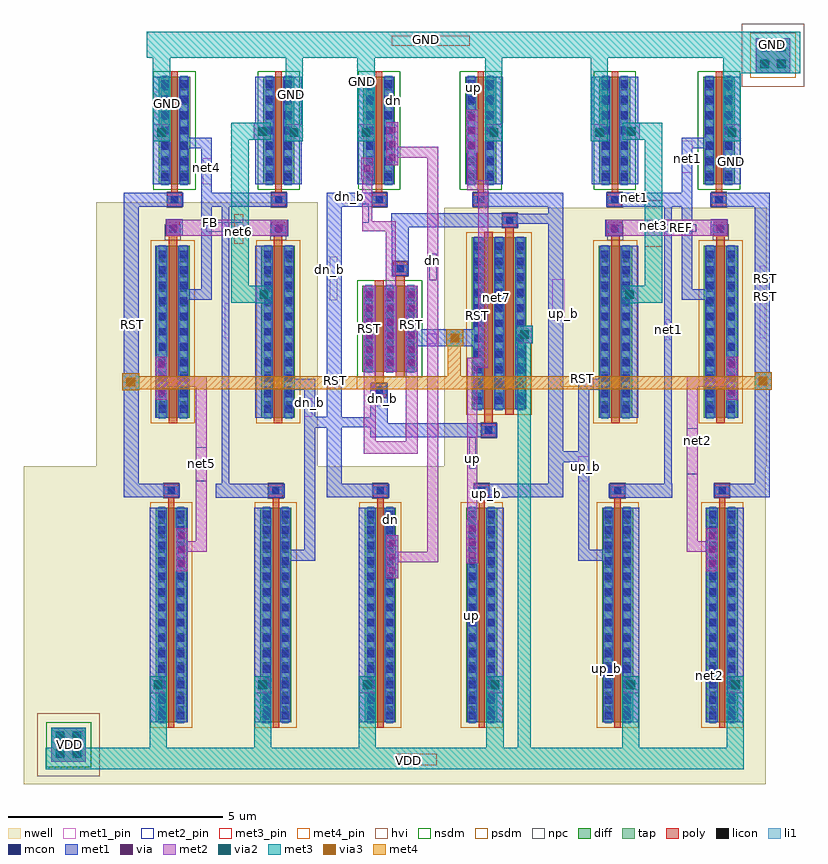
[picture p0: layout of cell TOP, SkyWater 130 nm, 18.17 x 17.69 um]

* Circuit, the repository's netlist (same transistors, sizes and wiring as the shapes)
** sch_path: /home/ahmedelbadry/D_FF/conventional_pfd.sch
*.subckt TOP VDD net5 dn_b up up_b net2 RST net4 net6 net7 net3 net1 GND REF FB
.subckt pfd VDD GND up dn REF FB
M1 net1 RST GND GND sky130_fd_pr__nfet_01v8 L=0.15U W=2.5U nf=1 
M2 net1 REF net2 VDD sky130_fd_pr__pfet_01v8 L=0.2U W=4U nf=1 
M3 net2 RST VDD VDD sky130_fd_pr__pfet_01v8 L=0.15U W=5U nf=1
M4 net3 net1 GND GND sky130_fd_pr__nfet_01v8 L=0.15U W=2.5U nf=1 
M5 up_b net1 VDD VDD sky130_fd_pr__pfet_01v8 L=0.15U W=5U nf=1
M6 up_b REF net3 VDD sky130_fd_pr__pfet_01v8 L=0.2U W=4U nf=1  
M7 up up_b GND GND sky130_fd_pr__nfet_01v8 L=0.15U W=2.5U nf=1 
M8 up up_b VDD VDD sky130_fd_pr__pfet_01v8 L=0.15U W=5U nf=1 
M9 net7 up_b VDD VDD sky130_fd_pr__pfet_01v8 L=0.2U W=4U nf=1 
M10 RST dn_b net7 VDD sky130_fd_pr__pfet_01v8 L=0.2U W=4U nf=1
M11 dn dn_b GND GND sky130_fd_pr__nfet_01v8 L=0.15U W=2.5U nf=1
M12 dn dn_b VDD VDD sky130_fd_pr__pfet_01v8 L=0.15U W=5U nf=1 
M13 RST up_b GND GND sky130_fd_pr__nfet_01v8 L=0.2U W=2U nf=1
M14 RST dn_b GND GND sky130_fd_pr__nfet_01v8 L=0.2U W=2U nf=1  
M15 net6 net4 GND GND sky130_fd_pr__nfet_01v8 L=0.15U W=2.5U nf=1
M16 dn_b net4 VDD VDD sky130_fd_pr__pfet_01v8 L=0.15U W=5U nf=1 
M17 net4 FB net5 VDD sky130_fd_pr__pfet_01v8 L=0.2U W=4U nf=1 
M18 dn_b FB net6 VDD sky130_fd_pr__pfet_01v8 L=0.2U W=4U nf=1  
M19 net5 RST VDD VDD sky130_fd_pr__pfet_01v8 L=0.15U W=5U nf=1
M20 net4 RST GND GND sky130_fd_pr__nfet_01v8 L=0.15U W=2.5U nf=1 
.ends

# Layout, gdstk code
from math import pi, radians
import gdstk
lib = gdstk.Library(unit=1e-6, precision=1e-09)
def R(c, l, rs):  # rectangles x0, y0, x1, y1
    for r in rs: c.add(gdstk.rectangle(r[:2], r[2:], *l))
def A(c, l, x, y, w, h, nx, ny, dx, dy):  # array of equal rectangles
    R(c, l, [(x+i*dx, y+j*dy, x+i*dx+w, y+j*dy+h) for i in range(nx) for j in range(ny)])
nwell = (64, 20)
diff = (65, 20)
tap = (65, 44)
poly = (66, 20)
licon = (66, 44)
li1 = (67, 20)
mcon = (67, 44)
met1_pin = (68, 16)
met1 = (68, 20)
via = (68, 44)
met2_pin = (69, 16)
met2 = (69, 20)
via2 = (69, 44)
met3_pin = (70, 16)
met3 = (70, 20)
via3 = (70, 44)
met4_pin = (71, 16)
met4 = (71, 20)
hvi = (75, 20)
nsdm = (93, 44)
psdm = (94, 20)
npc = (95, 20)

via_new_2 = lib.new_cell('via_new$2')
R(via_new_2, via, [(0.125,-0.075,0.275,0.075)])
R(via_new_2, via2, [(0.1,-0.1,0.3,0.1)])
via_new_2.add(gdstk.FlexPath([(0,0),(0.4,0)], 0.4, ends="flush", simple_path=True, layer=68, datatype=20))  # met1
via_new_2.add(gdstk.FlexPath([(0,0),(0.4,0)], 0.4, ends="flush", simple_path=True, layer=69, datatype=20))  # met2
via_new_2.add(gdstk.FlexPath([(0,0),(0.4,0)], 0.4, ends="flush", simple_path=True, layer=70, datatype=20))  # met3

via_new = lib.new_cell('via_new')
A(via_new, via, 0.105, -0.075, 0.15, 0.15, 3, 1, 0.32, 0)
via_new.add(gdstk.FlexPath([(0,0),(1,0)], 0.28, ends="flush", simple_path=True, layer=68, datatype=20))  # met1
via_new.add(gdstk.FlexPath([(0,0),(1,0)], 0.28, ends="flush", simple_path=True, layer=69, datatype=20))  # met2

via_new_3 = lib.new_cell('via_new$3')
R(via_new_3, via, [(0.115,-0.075,0.265,0.075)])
via_new_3.add(gdstk.FlexPath([(0,0),(0.38,0)], 0.38, ends="flush", simple_path=True, layer=68, datatype=20))  # met1
via_new_3.add(gdstk.FlexPath([(0,0),(0.38,0)], 0.38, ends="flush", simple_path=True, layer=69, datatype=20))  # met2

via_new_4 = lib.new_cell('via_new$4')
A(via_new_4, via, 0.125, -0.075, 0.15, 0.15, 6, 1, 0.32, 0)
via_new_4.add(gdstk.FlexPath([(0,0),(2,0)], 0.28, ends="flush", simple_path=True, layer=68, datatype=20))  # met1
via_new_4.add(gdstk.FlexPath([(0,0),(2,0)], 0.28, ends="flush", simple_path=True, layer=69, datatype=20))  # met2

via_new_5 = lib.new_cell('via_new$5')
R(via_new_5, via, [(0.125,-0.075,0.275,0.075)])
R(via_new_5, via2, [(0.1,-0.1,0.3,0.1)])
R(via_new_5, via3, [(0.1,-0.1,0.3,0.1)])
via_new_5.add(gdstk.FlexPath([(0,0),(0.4,0)], 0.4, ends="flush", simple_path=True, layer=68, datatype=20))  # met1
via_new_5.add(gdstk.FlexPath([(0,0),(0.4,0)], 0.4, ends="flush", simple_path=True, layer=69, datatype=20))  # met2
via_new_5.add(gdstk.FlexPath([(0,0),(0.4,0)], 0.4, ends="flush", simple_path=True, layer=70, datatype=20))  # met3
via_new_5.add(gdstk.FlexPath([(0,0),(0.4,0)], 0.4, ends="flush", simple_path=True, layer=71, datatype=20))  # met4

via_new_6 = lib.new_cell('via_new$6')
R(via_new_6, via, [(0.175,-0.075,0.325,0.075)])
via_new_6.add(gdstk.FlexPath([(0,0),(0.5,0)], 0.28, ends="flush", simple_path=True, layer=68, datatype=20))  # met1
via_new_6.add(gdstk.FlexPath([(0,0),(0.5,0)], 0.28, ends="flush", simple_path=True, layer=69, datatype=20))  # met2

via_new_9 = lib.new_cell('via_new$9')
R(via_new_9, licon, [(0.145,-0.255,0.315,-0.085), (0.485,-0.255,0.655,-0.085), (0.145,0.085,0.315,0.255), (0.485,0.085,0.655,0.255)])
R(via_new_9, mcon, [(0.135,-0.265,0.305,-0.095), (0.495,-0.265,0.665,-0.095), (0.135,0.095,0.305,0.265), (0.495,0.095,0.665,0.265)])
R(via_new_9, via, [(0.165,-0.235,0.315,-0.085), (0.485,-0.235,0.635,-0.085), (0.165,0.085,0.315,0.235), (0.485,0.085,0.635,0.235)])
R(via_new_9, via2, [(0.1,-0.3,0.3,-0.1), (0.5,-0.3,0.7,-0.1), (0.1,0.1,0.3,0.3), (0.5,0.1,0.7,0.3)])
via_new_9.add(gdstk.FlexPath([(0,0),(0.8,0)], 0.8, ends="flush", simple_path=True, layer=65, datatype=44))  # tap
via_new_9.add(gdstk.FlexPath([(0,0),(0.8,0)], 0.8, ends="flush", simple_path=True, layer=67, datatype=20))  # li1
via_new_9.add(gdstk.FlexPath([(0,0),(0.8,0)], 0.8, ends="flush", simple_path=True, layer=68, datatype=20))  # met1
via_new_9.add(gdstk.FlexPath([(0,0),(0.8,0)], 0.8, ends="flush", simple_path=True, layer=69, datatype=20))  # met2
via_new_9.add(gdstk.FlexPath([(0,0),(0.8,0)], 0.8, ends="flush", simple_path=True, layer=70, datatype=20))  # met3
via_new_9.add(gdstk.FlexPath([(-0.33,0),(1.13,0)], 1.46, ends="flush", simple_path=True, layer=75, datatype=20))  # hvi
via_new_9.add(gdstk.FlexPath([(-0.125,0),(0.925,0)], 1.05, ends="flush", simple_path=True, layer=94, datatype=20))  # psdm

via_new_8 = lib.new_cell('via_new$8')
R(via_new_8, licon, [(0.145,-0.255,0.315,-0.085), (0.485,-0.255,0.655,-0.085), (0.145,0.085,0.315,0.255), (0.485,0.085,0.655,0.255)])
R(via_new_8, mcon, [(0.135,-0.265,0.305,-0.095), (0.495,-0.265,0.665,-0.095), (0.135,0.095,0.305,0.265), (0.495,0.095,0.665,0.265)])
R(via_new_8, via, [(0.165,-0.235,0.315,-0.085), (0.485,-0.235,0.635,-0.085), (0.165,0.085,0.315,0.235), (0.485,0.085,0.635,0.235)])
R(via_new_8, via2, [(0.1,-0.3,0.3,-0.1), (0.5,-0.3,0.7,-0.1), (0.1,0.1,0.3,0.3), (0.5,0.1,0.7,0.3)])
via_new_8.add(gdstk.FlexPath([(-0.125,0),(0.925,0)], 1.05, ends="flush", simple_path=True, layer=93, datatype=44))  # nsdm
via_new_8.add(gdstk.FlexPath([(-0.125,0),(0.925,0)], 1.05, ends="flush", simple_path=True, layer=64, datatype=20))  # nwell
via_new_8.add(gdstk.FlexPath([(-0.33,0),(1.13,0)], 1.46, ends="flush", simple_path=True, layer=64, datatype=20))  # nwell
via_new_8.add(gdstk.FlexPath([(0,0),(0.8,0)], 0.8, ends="flush", simple_path=True, layer=65, datatype=44))  # tap
via_new_8.add(gdstk.FlexPath([(0,0),(0.8,0)], 0.8, ends="flush", simple_path=True, layer=67, datatype=20))  # li1
via_new_8.add(gdstk.FlexPath([(0,0),(0.8,0)], 0.8, ends="flush", simple_path=True, layer=68, datatype=20))  # met1
via_new_8.add(gdstk.FlexPath([(0,0),(0.8,0)], 0.8, ends="flush", simple_path=True, layer=69, datatype=20))  # met2
via_new_8.add(gdstk.FlexPath([(0,0),(0.8,0)], 0.8, ends="flush", simple_path=True, layer=70, datatype=20))  # met3
via_new_8.add(gdstk.FlexPath([(-0.33,0),(1.13,0)], 1.46, ends="flush", simple_path=True, layer=75, datatype=20))  # hvi

top = lib.new_cell('TOP')
R(top, nwell, [(-3.147,-13.418,14.127,-6.015), (-0.256,-12.293,0.834,-6.483), (2.178,-12.293,3.268,-6.483), (4.61,-12.293,5.7,-6.483), (6.972,-12.293,8.062,-6.483), (10.137,-12.293,11.227,-6.483), (12.571,-12.293,13.661,-6.483), (6.641,-6.726,9.445,0), (-1.461,-6.015,3.701,0.122), (9.417,-6.015,14.152,0), (-0.244,-5.2,0.896,-0.39), (2.208,-5.2,3.348,-0.39), (10.057,-5.2,11.197,-0.39), (12.509,-5.2,13.649,-0.39), (7.107,-5.193,8.247,-5.003), (7.107,-5.003,8.737,-0.383), (7.597,-0.383,8.737,-0.193)])
R(top, diff, [(-0.076,-11.983,0.654,-6.983), (2.358,-11.983,3.088,-6.983), (4.79,-11.983,5.52,-6.983), (7.152,-11.983,7.882,-6.983), (10.317,-11.983,11.047,-6.983), (12.751,-11.983,13.481,-6.983), (-0.064,-4.89,0.716,-0.89), (2.388,-4.89,3.168,-0.89), (10.237,-4.89,11.017,-0.89), (12.689,-4.89,13.469,-0.89), (7.287,-4.693,8.557,-0.693), (4.74,-3.819,6.01,-1.819), (0,0.545,0.73,3.045), (2.425,0.545,3.155,3.045), (4.764,0.545,5.494,3.045), (7.129,0.545,7.859,3.045), (10.25,0.545,10.98,3.045), (12.675,0.545,13.405,3.045)])
R(top, poly, [(0.214,-12.113,0.364,-6.751), (2.648,-12.113,2.798,-6.752), (5.08,-12.113,5.23,-6.752), (7.442,-12.113,7.592,-6.752), (10.607,-12.113,10.757,-6.752), (13.041,-12.113,13.191,-6.751), (2.558,-6.753,2.888,-6.423), (4.99,-6.753,5.32,-6.423), (7.352,-6.753,7.682,-6.423), (10.517,-6.753,10.847,-6.423), (0.124,-6.751,0.454,-6.421), (12.951,-6.751,13.281,-6.421), (7.512,-5.344,7.842,-5.014), (0.226,-5.02,0.426,-0.659), (2.678,-5.02,2.878,-0.659), (10.527,-5.02,10.727,-0.659), (12.979,-5.02,13.179,-0.659), (7.577,-5.015,7.777,-0.563), (8.067,-4.823,8.267,-0.457), (4.965,-4.414,5.295,-4.084), (5.03,-4.092,5.23,-1.689), (5.52,-3.949,5.72,-1.587), (5.455,-1.59,5.785,-1.26), (0.161,-0.661,0.491,-0.331), (2.613,-0.661,2.943,-0.331), (10.462,-0.661,10.792,-0.331), (12.914,-0.661,13.244,-0.331), (8.002,-0.457,8.332,-0.127), (0.2,0.02,0.53,0.35), (2.625,0.02,2.955,0.35), (4.964,0.02,5.294,0.35), (7.329,0.02,7.659,0.35), (10.45,0.02,10.78,0.35), (12.875,0.02,13.205,0.35), (0.29,0.35,0.44,3.175), (2.715,0.35,2.865,3.175), (5.054,0.35,5.204,3.175), (7.419,0.35,7.569,3.175), (10.54,0.35,10.69,3.175), (12.965,0.35,13.115,3.175)])
A(top, licon, -0.016, -11.778, 0.17, 0.17, 1, 14, 0, 0.34)
A(top, licon, 0.424, -11.778, 0.17, 0.17, 1, 14, 0, 0.34)
A(top, licon, 2.418, -11.778, 0.17, 0.17, 1, 14, 0, 0.34)
A(top, licon, 2.858, -11.778, 0.17, 0.17, 1, 14, 0, 0.34)
A(top, licon, 4.85, -11.778, 0.17, 0.17, 1, 14, 0, 0.34)
A(top, licon, 5.29, -11.778, 0.17, 0.17, 1, 14, 0, 0.34)
A(top, licon, 7.212, -11.778, 0.17, 0.17, 1, 14, 0, 0.34)
A(top, licon, 7.652, -11.778, 0.17, 0.17, 1, 14, 0, 0.34)
A(top, licon, 10.377, -11.778, 0.17, 0.17, 1, 14, 0, 0.34)
A(top, licon, 10.817, -11.778, 0.17, 0.17, 1, 14, 0, 0.34)
A(top, licon, 12.811, -11.778, 0.17, 0.17, 1, 14, 0, 0.34)
A(top, licon, 13.251, -11.778, 0.17, 0.17, 1, 14, 0, 0.34)
A(top, licon, -0.004, -4.675, 0.17, 0.17, 1, 11, 0, 0.34)
A(top, licon, 0.486, -4.675, 0.17, 0.17, 1, 11, 0, 0.34)
A(top, licon, 2.448, -4.675, 0.17, 0.17, 1, 11, 0, 0.34)
A(top, licon, 2.938, -4.675, 0.17, 0.17, 1, 11, 0, 0.34)
A(top, licon, 10.297, -4.675, 0.17, 0.17, 1, 11, 0, 0.34)
A(top, licon, 10.787, -4.675, 0.17, 0.17, 1, 11, 0, 0.34)
A(top, licon, 12.749, -4.675, 0.17, 0.17, 1, 11, 0, 0.34)
A(top, licon, 13.239, -4.675, 0.17, 0.17, 1, 11, 0, 0.34)
A(top, licon, 7.347, -4.478, 0.17, 0.17, 3, 11, 0.49, 0.34)
A(top, licon, 4.8, -3.754, 0.17, 0.17, 1, 6, 0, 0.34)
A(top, licon, 4.8, -3.754, 0.17, 0.17, 3, 6, 0.49, 0.34)
A(top, licon, 0.06, 0.69, 0.17, 0.17, 1, 7, 0, 0.34)
A(top, licon, 0.5, 0.69, 0.17, 0.17, 1, 7, 0, 0.34)
A(top, licon, 2.485, 0.69, 0.17, 0.17, 1, 7, 0, 0.34)
A(top, licon, 2.925, 0.69, 0.17, 0.17, 1, 7, 0, 0.34)
A(top, licon, 4.824, 0.69, 0.17, 0.17, 1, 7, 0, 0.34)
A(top, licon, 5.264, 0.69, 0.17, 0.17, 1, 7, 0, 0.34)
A(top, licon, 7.189, 0.69, 0.17, 0.17, 1, 7, 0, 0.34)
A(top, licon, 7.629, 0.69, 0.17, 0.17, 1, 7, 0, 0.34)
A(top, licon, 10.31, 0.69, 0.17, 0.17, 1, 7, 0, 0.34)
A(top, licon, 10.75, 0.69, 0.17, 0.17, 1, 7, 0, 0.34)
A(top, licon, 12.735, 0.69, 0.17, 0.17, 1, 7, 0, 0.34)
A(top, licon, 13.175, 0.69, 0.17, 0.17, 1, 7, 0, 0.34)
R(top, licon, [(2.638,-6.673,2.808,-6.503), (5.07,-6.673,5.24,-6.503), (7.432,-6.673,7.602,-6.503), (10.597,-6.673,10.767,-6.503), (0.204,-6.671,0.374,-6.501), (13.031,-6.671,13.201,-6.501), (7.592,-5.264,7.762,-5.094), (5.045,-4.334,5.215,-4.164), (5.535,-1.51,5.705,-1.34), (0.241,-0.581,0.411,-0.411), (2.693,-0.581,2.863,-0.411), (10.542,-0.581,10.712,-0.411), (12.994,-0.581,13.164,-0.411), (8.082,-0.377,8.252,-0.207), (0.28,0.1,0.45,0.27), (2.705,0.1,2.875,0.27), (5.044,0.1,5.214,0.27), (7.409,0.1,7.579,0.27), (10.53,0.1,10.7,0.27), (12.955,0.1,13.125,0.27)])
A(top, li1, 7.347, -4.713, 0.17, 4.04, 3, 1, 0.49, 0)
A(top, li1, 4.8, -3.839, 0.17, 2.04, 3, 1, 0.49, 0)
R(top, li1, [(-0.016,-12.003,0.154,-6.963), (0.424,-12.003,0.594,-6.963), (2.418,-12.003,2.588,-6.963), (2.858,-12.003,3.028,-6.963), (4.85,-12.003,5.02,-6.963), (5.29,-12.003,5.46,-6.963), (7.212,-12.003,7.382,-6.963), (7.652,-12.003,7.822,-6.963), (10.377,-12.003,10.547,-6.963), (10.817,-12.003,10.987,-6.963), (12.811,-12.003,12.981,-6.963), (13.251,-12.003,13.421,-6.963), (2.558,-6.673,2.888,-6.503), (4.99,-6.673,5.32,-6.503), (7.352,-6.673,7.682,-6.503), (10.517,-6.673,10.847,-6.503), (0.124,-6.671,0.454,-6.501), (12.951,-6.671,13.281,-6.501), (7.512,-5.264,7.842,-5.094), (-0.004,-4.91,0.166,-0.87), (0.486,-4.91,0.656,-0.87), (2.448,-4.91,2.618,-0.87), (2.938,-4.91,3.108,-0.87), (10.297,-4.91,10.467,-0.87), (10.787,-4.91,10.957,-0.87), (12.749,-4.91,12.919,-0.87), (13.239,-4.91,13.409,-0.87), (4.965,-4.334,5.295,-4.164), (4.8,-3.839,4.97,-1.799), (5.455,-1.51,5.785,-1.34), (0.161,-0.581,0.491,-0.411), (2.613,-0.581,2.943,-0.411), (10.462,-0.581,10.792,-0.411), (12.914,-0.581,13.244,-0.411), (8.002,-0.377,8.332,-0.207), (0.2,0.1,0.53,0.27), (2.625,0.1,2.955,0.27), (4.964,0.1,5.294,0.27), (7.329,0.1,7.659,0.27), (10.45,0.1,10.78,0.27), (12.875,0.1,13.205,0.27), (0.06,0.525,0.23,3.065), (0.5,0.525,0.67,3.065), (2.485,0.525,2.655,3.065), (2.925,0.525,3.095,3.065), (4.824,0.525,4.994,3.065), (5.264,0.525,5.434,3.065), (7.189,0.525,7.359,3.065), (7.629,0.525,7.799,3.065), (10.31,0.525,10.48,3.065), (10.75,0.525,10.92,3.065), (12.735,0.525,12.905,3.065), (13.175,0.525,13.345,3.065)])
A(top, mcon, -0.016, -11.908, 0.17, 0.17, 1, 14, 0, 0.36)
A(top, mcon, 0.424, -11.908, 0.17, 0.17, 1, 14, 0, 0.36)
A(top, mcon, 2.418, -11.908, 0.17, 0.17, 1, 14, 0, 0.36)
A(top, mcon, 2.858, -11.908, 0.17, 0.17, 1, 14, 0, 0.36)
A(top, mcon, 4.85, -11.908, 0.17, 0.17, 1, 14, 0, 0.36)
A(top, mcon, 5.29, -11.908, 0.17, 0.17, 1, 14, 0, 0.36)
A(top, mcon, 7.212, -11.908, 0.17, 0.17, 1, 14, 0, 0.36)
A(top, mcon, 7.652, -11.908, 0.17, 0.17, 1, 14, 0, 0.36)
A(top, mcon, 10.377, -11.908, 0.17, 0.17, 1, 14, 0, 0.36)
A(top, mcon, 10.817, -11.908, 0.17, 0.17, 1, 14, 0, 0.36)
A(top, mcon, 12.811, -11.908, 0.17, 0.17, 1, 14, 0, 0.36)
A(top, mcon, 13.251, -11.908, 0.17, 0.17, 1, 14, 0, 0.36)
A(top, mcon, -0.004, -4.775, 0.17, 0.17, 1, 11, 0, 0.36)
A(top, mcon, 0.486, -4.775, 0.17, 0.17, 1, 11, 0, 0.36)
A(top, mcon, 2.448, -4.775, 0.17, 0.17, 1, 11, 0, 0.36)
A(top, mcon, 2.938, -4.775, 0.17, 0.17, 1, 11, 0, 0.36)
A(top, mcon, 10.297, -4.775, 0.17, 0.17, 1, 11, 0, 0.36)
A(top, mcon, 10.787, -4.775, 0.17, 0.17, 1, 11, 0, 0.36)
A(top, mcon, 12.749, -4.775, 0.17, 0.17, 1, 11, 0, 0.36)
A(top, mcon, 13.239, -4.775, 0.17, 0.17, 1, 11, 0, 0.36)
A(top, mcon, 7.347, -4.578, 0.17, 0.17, 3, 11, 0.49, 0.36)
A(top, mcon, 4.8, -3.624, 0.17, 0.17, 1, 5, 0, 0.36)
A(top, mcon, 4.8, -3.624, 0.17, 0.17, 3, 5, 0.49, 0.36)
A(top, mcon, 0.06, 0.63, 0.17, 0.17, 1, 7, 0, 0.36)
A(top, mcon, 0.5, 0.63, 0.17, 0.17, 1, 7, 0, 0.36)
A(top, mcon, 2.485, 0.63, 0.17, 0.17, 1, 7, 0, 0.36)
A(top, mcon, 2.925, 0.63, 0.17, 0.17, 1, 7, 0, 0.36)
A(top, mcon, 4.824, 0.63, 0.17, 0.17, 1, 7, 0, 0.36)
A(top, mcon, 5.264, 0.63, 0.17, 0.17, 1, 7, 0, 0.36)
A(top, mcon, 7.189, 0.63, 0.17, 0.17, 1, 7, 0, 0.36)
A(top, mcon, 7.629, 0.63, 0.17, 0.17, 1, 7, 0, 0.36)
A(top, mcon, 10.31, 0.63, 0.17, 0.17, 1, 7, 0, 0.36)
A(top, mcon, 10.75, 0.63, 0.17, 0.17, 1, 7, 0, 0.36)
A(top, mcon, 12.735, 0.63, 0.17, 0.17, 1, 7, 0, 0.36)
A(top, mcon, 13.175, 0.63, 0.17, 0.17, 1, 7, 0, 0.36)
R(top, mcon, [(2.638,-6.673,2.808,-6.503), (5.07,-6.673,5.24,-6.503), (7.432,-6.673,7.602,-6.503), (10.597,-6.673,10.767,-6.503), (0.204,-6.671,0.374,-6.501), (13.031,-6.671,13.201,-6.501), (7.592,-5.264,7.762,-5.094), (5.045,-4.334,5.215,-4.164), (5.535,-1.51,5.705,-1.34), (0.241,-0.581,0.411,-0.411), (2.693,-0.581,2.863,-0.411), (10.542,-0.581,10.712,-0.411), (12.994,-0.581,13.164,-0.411), (8.082,-0.377,8.252,-0.207), (0.28,0.1,0.45,0.27), (2.705,0.1,2.875,0.27), (5.044,0.1,5.214,0.27), (7.409,0.1,7.579,0.27), (10.53,0.1,10.7,0.27), (12.955,0.1,13.125,0.27)])
R(top, met1_pin, [(12.729,-11.063,12.919,-10.68), (10.43,-10.949,10.481,-10.542), (7.241,-9.714,7.335,-9.223), (5.297,-7.358,5.49,-7.109), (7.474,-6.69,7.818,-6.658), (9.769,-6.374,10.019,-5.788), (3.386,-4.869,3.576,-4.442), (5.088,-4.627,5.333,-4.302), (5.327,-3.745,5.398,-3.565), (5.336,-3.218,5.398,-2.653), (6.242,-3.177,6.467,-2.937), (4.768,-3.11,5.048,-2.643), (11.803,-3.083,11.907,-2.599), (5.814,-3.078,5.888,-2.382), (1.54,-3.04,1.639,-2.226), (13.994,-3.039,14.121,-1.352), (7.383,-2.661,7.495,-2.322), (9.164,-2.623,9.445,-1.67), (7.865,-2.4,7.986,-1.775), (3.982,-2.154,4.157,-1.149), (4.332,0.102,4.572,0.345), (10.911,0.111,11.193,0.289), (1.026,0.546,1.233,1.144), (12.172,0.808,12.422,1.559), (13.23,0.915,13.551,1.205), (7.599,1.946,7.956,2.929), (-0.094,2.099,0.208,2.702), (2.892,2.135,3.332,2.643), (5.234,2.193,5.464,2.72), (7.159,2.472,7.389,2.86), (4.662,2.624,5.011,3.014)])
A(top, met1, 7.317, -4.693, 0.23, 4, 3, 1, 0.49, 0)
A(top, met1, 4.77, -3.819, 0.23, 2, 3, 1, 0.49, 0)
R(top, met1, [(-0.214,-11.983,0.184,-6.983), (0.394,-11.983,0.676,-6.983), (2.219,-11.983,2.618,-6.983), (2.828,-11.983,3.058,-6.983), (4.651,-11.983,5.05,-6.983), (5.26,-11.983,5.49,-6.983), (7.182,-11.983,7.412,-6.983), (7.622,-11.983,8.03,-6.983), (10.347,-11.983,10.577,-6.983), (10.787,-11.983,11.186,-6.983), (12.729,-11.983,13.011,-6.983), (13.221,-11.983,13.619,-6.983), (1.327,-6.749,2.926,-6.427), (4.952,-6.749,5.358,-6.427), (7.314,-6.749,8.12,-6.427), (10.479,-6.749,11.949,-6.427), (-0.813,-6.747,0.086,-6.424), (-0.812,-6.747,-0.464,0.345), (0.086,-6.747,0.492,-6.425), (3.91,-6.747,4.258,0.345), (3.91,-6.747,4.258,0.345), (4.05,-6.747,5.007,-6.424), (4.05,-6.747,5.007,-6.424), (8.108,-6.747,9.361,-6.424), (9.069,-6.747,9.417,0.345), (12.913,-6.747,13.319,-6.425), (13.319,-6.747,14.218,-6.424), (13.869,-6.747,14.217,0.345), (1.459,-6.713,1.639,0.346), (11.766,-6.713,11.946,0.346), (9.069,-5.929,10.019,-5.67), (4.926,-5.34,7.88,-5.018), (4.927,-5.339,5.333,-4.088), (-0.082,-4.89,0.196,-0.89), (0.456,-4.89,0.686,-0.89), (2.242,-4.89,2.648,-0.89), (2.908,-4.89,3.138,-0.89), (10.267,-4.89,10.497,-0.89), (10.757,-4.89,11.163,-0.89), (12.719,-4.89,12.949,-0.89), (13.209,-4.89,13.487,-0.89), (4.77,-3.819,5,-1.819), (5.888,-3.229,7.448,-2.833), (5.417,-1.586,5.823,-0.132), (2.607,-0.661,3.013,-0.279), (10.392,-0.661,10.798,-0.279), (0.155,-0.657,0.561,-0.268), (12.844,-0.657,13.25,-0.268), (5.414,-0.453,8.37,-0.131), (-0.737,0.022,0.162,0.345), (-0.737,0.022,0.162,0.345), (4.07,0.022,4.969,0.345), (4.07,0.022,4.969,0.345), (8.07,0.022,9.246,0.345), (13.243,0.022,14.142,0.345), (13.243,0.022,14.142,0.345), (0.162,0.024,0.568,0.346), (0.986,0.024,2.993,0.346), (4.926,0.024,5.332,0.346), (7.291,0.024,8.144,0.346), (10.412,0.024,12.419,0.346), (12.837,0.024,13.243,0.346), (-0.146,0.545,0.26,3.045), (0.47,0.545,0.7,3.045), (2.25,0.545,2.685,3.045), (3.125,0.545,3.324,3.045), (4.619,0.545,5.024,3.045), (5.234,0.545,5.464,3.045), (7.159,0.545,7.389,3.045), (7.599,0.545,8.002,3.045), (10.081,0.545,10.28,3.045), (10.72,0.545,11.155,3.045), (12.705,0.545,12.935,3.045), (13.145,0.545,13.551,3.045), (2.895,0.546,3.125,3.046), (10.28,0.546,10.51,3.046)])
R(top, met2_pin, [(0.864,-6.374,1.114,-5.576), (12.291,-6.212,12.541,-5.14), (7.227,-6.079,7.378,-5.34), (5.75,-3.021,6.028,-2.369), (6.292,-1.687,6.467,-1.07), (1.108,-0.567,1.961,-0.337), (11.516,-0.559,12.509,-0.39), (4.737,-0.356,4.888,0.09)])
R(top, met2, [(0.542,-0.66,2.615,-0.279), (10.79,-0.66,12.863,-0.279)])
R(top, met3_pin, [(5.541,-12.987,6.464,-12.717), (-2.405,-12.77,-1.777,-12.18), (11.316,-0.914,11.716,0.167), (1.757,-0.838,1.961,-0.158), (13.897,3.705,14.537,3.889), (5.42,3.773,7.233,3.996)])
R(top, met3, [(-2.63,-13.072,13.607,-12.572), (2.089,-2.217,2.633,-1.821), (10.772,-2.217,11.316,-1.821), (1.688,1.577,2.284,1.977), (11.121,1.577,11.717,1.977), (13.543,3.125,14.932,3.487), (-0.287,3.487,14.932,4.09)])
R(top, met4_pin, [(3.994,-4.23,4.617,-3.93), (9.352,-4.165,10.43,-3.93)])
R(top, nsdm, [(4.615,-3.944,6.135,-1.694), (-0.125,0.42,0.855,3.17), (2.3,0.42,3.28,3.17), (4.639,0.42,5.619,3.17), (7.004,0.42,7.984,3.17), (10.125,0.42,11.105,3.17), (12.55,0.42,13.53,3.17)])
R(top, psdm, [(-0.201,-12.108,0.779,-6.858), (2.233,-12.108,3.213,-6.858), (4.665,-12.108,5.645,-6.858), (7.027,-12.108,8.007,-6.858), (10.192,-12.108,11.172,-6.858), (12.626,-12.108,13.606,-6.858), (-0.189,-5.015,0.841,-0.765), (2.263,-5.015,3.293,-0.765), (10.112,-5.015,11.142,-0.765), (12.564,-5.015,13.594,-0.765), (7.162,-4.818,8.682,-0.568)])
R(top, npc, [(2.538,-6.773,2.908,-6.403), (4.97,-6.773,5.34,-6.403), (7.332,-6.773,7.702,-6.403), (10.497,-6.773,10.867,-6.403), (0.104,-6.771,0.474,-6.401), (12.931,-6.771,13.301,-6.401), (7.492,-5.364,7.862,-4.994), (4.945,-4.434,5.315,-4.064), (5.435,-1.61,5.805,-1.24), (0.141,-0.755,0.511,-0.385), (2.593,-0.755,2.963,-0.385), (10.442,-0.755,10.812,-0.385), (12.894,-0.755,13.264,-0.385), (7.982,-0.477,8.352,-0.107), (0.18,0,0.55,0.37), (2.605,0,2.975,0.37), (4.944,0,5.314,0.37), (7.309,0,7.679,0.37), (10.43,0,10.8,0.37), (12.855,0,13.225,0.37)])
top.add(gdstk.FlexPath([(0.565,1.506),(1.108,1.506),(1.108,-2.025),(0.748,-2.025),(0.572,-2.025)], 0.25, ends="flush", simple_path=True, layer=68, datatype=20))  # met1
top.add(gdstk.FlexPath([(3.024,-4.109),(3.511,-4.109),(3.511,-8.091),(2.897,-8.091),(2.897,-8.091)], 0.25, ends="flush", simple_path=True, layer=68, datatype=20))  # met1
top.add(gdstk.FlexPath([(3.511,-4.994),(4.258,-4.994)], 0.25, ends="flush", simple_path=True, layer=68, datatype=20))  # met1
top.add(gdstk.FlexPath([(12.84,1.506),(12.297,1.506),(12.297,-2.025),(12.657,-2.025),(12.833,-2.025)], 0.25, ends="flush", simple_path=True, layer=68, datatype=20))  # met1
top.add(gdstk.FlexPath([(10.381,-4.109),(9.894,-4.109),(9.894,-8.091),(10.508,-8.091),(10.508,-8.091)], 0.25, ends="flush", simple_path=True, layer=68, datatype=20))  # met1
top.add(gdstk.FlexPath([(4.142,-4.994),(5.333,-4.994)], 0.23, ends="flush", simple_path=True, layer=68, datatype=20))  # met1
top.add(gdstk.FlexPath([(9.262,-0.26),(7.862,-0.26)], 0.23, ends="flush", simple_path=True, layer=68, datatype=20))  # met1
top.add(gdstk.FlexPath([(0.532,-7.89),(0.989,-7.89),(0.989,-4.047),(0.056,-4.047),(0.056,-4.047)], 0.25, ends="flush", simple_path=True, layer=69, datatype=20))  # met2
top.add(gdstk.FlexPath([(5.482,1.287),(6.379,1.287),(6.379,-8.132),(5.403,-8.132)], 0.25, ends="flush", simple_path=True, layer=69, datatype=20))  # met2
top.add(gdstk.FlexPath([(5.886,-3.554),(5.886,-5.584),(4.906,-5.584),(4.906,-3.674),(4.906,-3.674)], 0.28, ends="flush", simple_path=True, layer=69, datatype=20))  # met2
top.add(gdstk.FlexPath([(12.873,-7.89),(12.416,-7.89),(12.416,-4.047),(13.349,-4.047),(13.349,-4.047)], 0.25, ends="flush", simple_path=True, layer=69, datatype=20))  # met2
top.add(gdstk.FlexPath([(7.293,-7.541),(7.293,-3.611),(7.551,-3.611),(7.551,0.519),(7.293,0.519),(7.293,1.328)], 0.23, ends="flush", simple_path=True, layer=69, datatype=20))  # met2
top.add(gdstk.FlexPath([(5.398,-2.124),(5.398,-0.436),(4.852,-0.436),(4.852,0.933)], 0.23, ends="flush", simple_path=True, layer=69, datatype=20))  # met2
top.add(gdstk.FlexPath([(0.062,1.746),(0.062,4.063)], 0.4, ends="flush", simple_path=True, layer=70, datatype=20))  # met3
top.add(gdstk.FlexPath([(3.149,1.746),(3.149,4.063)], 0.4, ends="flush", simple_path=True, layer=70, datatype=20))  # met3
top.add(gdstk.FlexPath([(4.823,1.746),(4.823,4.063)], 0.4, ends="flush", simple_path=True, layer=70, datatype=20))  # met3
top.add(gdstk.FlexPath([(7.795,1.746),(7.795,4.063)], 0.4, ends="flush", simple_path=True, layer=70, datatype=20))  # met3
top.add(gdstk.FlexPath([(-0.012,-11.107),(-0.012,-13.072)], 0.4, ends="flush", simple_path=True, layer=70, datatype=20))  # met3
top.add(gdstk.FlexPath([(2.417,-11.107),(2.417,-13.072)], 0.4, ends="flush", simple_path=True, layer=70, datatype=20))  # met3
top.add(gdstk.FlexPath([(4.854,-11.107),(4.854,-13.072)], 0.4, ends="flush", simple_path=True, layer=70, datatype=20))  # met3
top.add(gdstk.FlexPath([(7.825,-11.107),(7.825,-13.072)], 0.4, ends="flush", simple_path=True, layer=70, datatype=20))  # met3
top.add(gdstk.FlexPath([(1.889,1.877),(1.889,-2.217)], 0.4, ends="flush", simple_path=True, layer=70, datatype=20))  # met3
top.add(gdstk.FlexPath([(8.507,-2.952),(8.507,-12.69)], 0.3, ends="flush", simple_path=True, layer=70, datatype=20))  # met3
top.add(gdstk.FlexPath([(13.343,1.746),(13.343,4.063)], 0.4, ends="flush", simple_path=True, layer=70, datatype=20))  # met3
top.add(gdstk.FlexPath([(10.256,1.746),(10.256,4.063)], 0.4, ends="flush", simple_path=True, layer=70, datatype=20))  # met3
top.add(gdstk.FlexPath([(13.417,-11.107),(13.417,-13.072)], 0.4, ends="flush", simple_path=True, layer=70, datatype=20))  # met3
top.add(gdstk.FlexPath([(10.988,-11.107),(10.988,-13.072)], 0.4, ends="flush", simple_path=True, layer=70, datatype=20))  # met3
top.add(gdstk.FlexPath([(11.516,1.877),(11.516,-2.217)], 0.4, ends="flush", simple_path=True, layer=70, datatype=20))  # met3
top.add(gdstk.FlexPath([(6.878,-3.124),(6.878,-4.08),(-0.812,-4.08),(-0.812,-4.08)], 0.3, ends="flush", simple_path=True, layer=71, datatype=20))  # met4
top.add(gdstk.FlexPath([(6.8,-4.08),(14.217,-4.08)], 0.3, ends="flush", simple_path=True, layer=71, datatype=20))  # met4
top.add(gdstk.Reference(via_new_2, (-0.136,1.746)))
top.add(gdstk.Reference(via_new_2, (2.949,1.746)))
top.add(gdstk.Reference(via_new_2, (4.624,1.746)))
top.add(gdstk.Reference(via_new_2, (7.601,1.746)))
top.add(gdstk.Reference(via_new_2, (2.219,-11.107)))
top.add(gdstk.Reference(via_new_2, (4.652,-11.107)))
top.add(gdstk.Reference(via_new_2, (7.625,-11.107)))
top.add(gdstk.Reference(via_new_2, (-0.215,-11.107)))
top.add(gdstk.Reference(via_new, (0.056,-3.471), rotation=3*pi/2, x_reflection=True))
top.add(gdstk.Reference(via_new, (0.532,-7.46), rotation=3*pi/2, x_reflection=True))
top.add(gdstk.Reference(via_new_2, (2.245,-2.021)))
top.add(gdstk.Reference(via_new_2, (2.209,1.777)))
top.add(gdstk.Reference(via_new_3, (2.995,-0.47), rotation=pi))
top.add(gdstk.Reference(via_new_3, (0.549,-0.469), rotation=pi))
top.add(gdstk.Reference(via_new, (5.434,-7.627), rotation=3*pi/2, x_reflection=True))
top.add(gdstk.Reference(via_new, (5.434,1.982), rotation=3*pi/2, x_reflection=True))
top.add(gdstk.Reference(via_new_2, (8.31,-2.952)))
r = gdstk.Reference(via_new_4, (5.888,-1.818), rotation=3*pi/2, x_reflection=True); r.repetition = gdstk.Repetition(1, 3, v1=(0,0), v2=(-0.49,0)); top.add(r)
top.add(gdstk.Reference(via_new_2, (13.541,1.746), rotation=pi, x_reflection=True))
top.add(gdstk.Reference(via_new_2, (10.456,1.746), rotation=pi, x_reflection=True))
top.add(gdstk.Reference(via_new_2, (11.186,-11.107), rotation=pi, x_reflection=True))
top.add(gdstk.Reference(via_new_2, (13.62,-11.107), rotation=pi, x_reflection=True))
top.add(gdstk.Reference(via_new, (13.349,-3.471), rotation=3*pi/2))
top.add(gdstk.Reference(via_new, (12.873,-7.46), rotation=3*pi/2))
top.add(gdstk.Reference(via_new_2, (11.196,1.777), rotation=pi, x_reflection=True))
top.add(gdstk.Reference(via_new_3, (10.41,-0.47), x_reflection=True))
top.add(gdstk.Reference(via_new_3, (12.856,-0.469), x_reflection=True))
r = gdstk.Reference(via_new_4, (5.888,-1.818), rotation=3*pi/2, x_reflection=True); r.repetition = gdstk.Repetition(1, 3, v1=(0,0), v2=(-0.49,0)); top.add(r)
top.add(gdstk.Reference(via_new_5, (6.692,-3.031)))
top.add(gdstk.Reference(via_new_5, (13.868,-4.034)))
top.add(gdstk.Reference(via_new_5, (-0.854,-4.055)))
top.add(gdstk.Reference(via_new, (7.293,-7.281), rotation=3*pi/2))
top.add(gdstk.Reference(via_new, (7.293,2.28), rotation=3*pi/2))
top.add(gdstk.Reference(via_new_6, (4.852,1.159), rotation=3*pi/2, x_reflection=True))
top.add(gdstk.Reference(via_new_9, (13.897,3.545)))
top.add(gdstk.Reference(via_new_8, (-2.501,-12.504)))
top.add(gdstk.Reference(via_new_2, (11.16,-2.021), rotation=pi, x_reflection=True))
top.add(gdstk.Label('dn', (6.379,-1.222), layer=69, texttype=20))
top.add(gdstk.Label('dn', (6.762,-1.246), layer=69, texttype=20))
top.add(gdstk.Label('GND', (14.283,3.797), layer=70, texttype=16))
top.add(gdstk.Label('VDD', (-2.076,-12.504), layer=70, texttype=16))
top.add(gdstk.Label('GND', (6.23,3.92), layer=70, texttype=16))
top.add(gdstk.Label('VDD', (5.808,-12.877), layer=70, texttype=16))
top.add(gdstk.Label('net3', (11.516,-0.413), layer=70, texttype=16))
top.add(gdstk.Label('net6', (1.864,-0.567), layer=70, texttype=16))
top.add(gdstk.Label('GND', (14.335,3.889), layer=70, texttype=5))
top.add(gdstk.Label('VDD', (-2.016,-12.419), layer=70, texttype=5))
top.add(gdstk.Label('GND', (5.732,3.894), layer=70, texttype=5))
top.add(gdstk.Label('VDD', (6.184,-12.839), layer=70, texttype=5))
top.add(gdstk.Label('net3', (11.596,-0.279), layer=70, texttype=5))
top.add(gdstk.Label('net6', (1.889,-0.378), layer=70, texttype=5))
top.add(gdstk.Label('dn_b', (3.511,-4.544), layer=68, texttype=16))
top.add(gdstk.Label('up_b', (9.417,-2.47), layer=68, texttype=16))
top.add(gdstk.Label('net1', (11.871,-2.832), layer=68, texttype=16))
top.add(gdstk.Label('net1', (11.084,0.232), layer=68, texttype=16))
top.add(gdstk.Label('RST', (7.422,-2.512), layer=68, texttype=16))
top.add(gdstk.Label('dn', (5.401,-7.25), layer=68, texttype=16))
top.add(gdstk.Label('RST', (5.888,-2.732), layer=68, texttype=16))
top.add(gdstk.Label('dn', (5.464,2.49), layer=68, texttype=16))
top.add(gdstk.Label('up', (7.29,-9.491), layer=68, texttype=16))
top.add(gdstk.Label('up', (7.314,2.786), layer=68, texttype=16))
top.add(gdstk.Label('GND', (5.398,-3.012), layer=68, texttype=16))
top.add(gdstk.Label('GND', (7.793,2.492), layer=68, texttype=16))
top.add(gdstk.Label('GND', (4.737,2.932), layer=68, texttype=16))
top.add(gdstk.Label('GND', (3.099,2.643), layer=68, texttype=16))
top.add(gdstk.Label('GND', (0.208,2.432), layer=68, texttype=16))
top.add(gdstk.Label('GND', (13.336,1.077), layer=68, texttype=16))
top.add(gdstk.Label('dn_b', (5.204,-4.446), layer=68, texttype=16))
top.add(gdstk.Label('RST', (4.908,-2.816), layer=68, texttype=16))
top.add(gdstk.Label('RST', (6.324,-3.039), layer=68, texttype=16))
top.add(gdstk.Label('dn_b', (4.439,0.261), layer=68, texttype=16))
top.add(gdstk.Label('up_b', (7.633,-6.658), layer=68, texttype=16))
top.add(gdstk.Label('up_b', (10.43,-10.736), layer=68, texttype=16))
top.add(gdstk.Label('up_b', (10.481,-10.699), layer=68, texttype=16))
top.add(gdstk.Label('net2', (12.813,-10.884), layer=68, texttype=16))
top.add(gdstk.Label('RST', (14.121,-2.061), layer=68, texttype=16))
top.add(gdstk.Label('net1', (12.297,1.137), layer=68, texttype=16))
top.add(gdstk.Label('up_b', (9.931,-6.022), layer=68, texttype=16))
top.add(gdstk.Label('dn_b', (3.982,-1.444), layer=68, texttype=16))
top.add(gdstk.Label('RST', (-0.621,-2.731), layer=68, texttype=16))
top.add(gdstk.Label('net4', (1.108,0.945), layer=68, texttype=16))
top.add(gdstk.Label('net7', (7.865,-2.1), layer=68, texttype=16))
top.add(gdstk.Label('dn_b', (3.576,-4.603), layer=68, texttype=5))
top.add(gdstk.Label('up_b', (9.445,-2.176), layer=68, texttype=5))
top.add(gdstk.Label('net1', (11.853,-2.764), layer=68, texttype=5))
top.add(gdstk.Label('net1', (11.063,0.23), layer=68, texttype=5))
top.add(gdstk.Label('RST', (7.429,-2.431), layer=68, texttype=5))
top.add(gdstk.Label('dn', (5.428,-7.23), layer=68, texttype=5))
top.add(gdstk.Label('RST', (5.927,-2.578), layer=68, texttype=5))
top.add(gdstk.Label('RST', (5.852,-2.553), layer=68, texttype=5))
top.add(gdstk.Label('dn', (5.346,2.639), layer=68, texttype=5))
top.add(gdstk.Label('up', (7.285,-9.416), layer=68, texttype=5))
top.add(gdstk.Label('up', (7.256,2.683), layer=68, texttype=5))
top.add(gdstk.Label('GND', (7.81,2.758), layer=68, texttype=5))
top.add(gdstk.Label('GND', (4.936,2.905), layer=68, texttype=5))
top.add(gdstk.Label('GND', (3.226,2.643), layer=68, texttype=5))
top.add(gdstk.Label('GND', (0.125,2.442), layer=68, texttype=5))
top.add(gdstk.Label('GND', (13.298,1.12), layer=68, texttype=5))
top.add(gdstk.Label('dn_b', (5.172,-4.398), layer=68, texttype=5))
top.add(gdstk.Label('RST', (4.908,-2.771), layer=68, texttype=5))
top.add(gdstk.Label('RST', (6.4,-3.039), layer=68, texttype=5))
top.add(gdstk.Label('dn_b', (4.572,0.276), layer=68, texttype=5))
top.add(gdstk.Label('up_b', (7.544,-6.69), layer=68, texttype=5))
top.add(gdstk.Label('up_b', (10.43,-10.678), layer=68, texttype=5))
top.add(gdstk.Label('net2', (12.829,-10.819), layer=68, texttype=5))
top.add(gdstk.Label('RST', (14.121,-1.656), layer=68, texttype=5))
top.add(gdstk.Label('net1', (12.297,1.272), layer=68, texttype=5))
top.add(gdstk.Label('up_b', (9.858,-6.026), layer=68, texttype=5))
top.add(gdstk.Label('dn_b', (4.07,-1.724), layer=68, texttype=5))
top.add(gdstk.Label('RST', (-0.695,-2.571), layer=68, texttype=5))
top.add(gdstk.Label('net4', (1.175,1.001), layer=68, texttype=5))
top.add(gdstk.Label('net7', (7.986,-1.858), layer=68, texttype=5))
top.add(gdstk.Label('RST', (5.832,-2.695), layer=69, texttype=16))
top.add(gdstk.Label('REF', (12.172,-0.457), layer=69, texttype=16))
top.add(gdstk.Label('net2', (12.541,-5.413), layer=69, texttype=16))
top.add(gdstk.Label('up', (7.293,-5.85), layer=69, texttype=16))
top.add(gdstk.Label('dn', (6.379,-1.287), layer=69, texttype=16))
top.add(gdstk.Label('FB', (1.195,-0.337), layer=69, texttype=16))
top.add(gdstk.Label('net5', (0.989,-5.965), layer=69, texttype=16))
top.add(gdstk.Label('GND', (4.838,0.054), layer=69, texttype=16))
top.add(gdstk.Label('RST', (5.888,-2.553), layer=69, texttype=5))
top.add(gdstk.Label('REF', (11.946,-0.449), layer=69, texttype=5))
top.add(gdstk.Label('net2', (12.416,-5.242), layer=69, texttype=5))
top.add(gdstk.Label('up', (7.293,-5.679), layer=69, texttype=5))
top.add(gdstk.Label('FB', (1.323,-0.5), layer=69, texttype=5))
top.add(gdstk.Label('net5', (0.989,-5.805), layer=69, texttype=5))
top.add(gdstk.Label('GND', (4.824,0.007), layer=69, texttype=5))
top.add(gdstk.Label('RST', (4.116,-4.034), layer=71, texttype=16))
top.add(gdstk.Label('RST', (9.87,-3.984), layer=71, texttype=16))
top.add(gdstk.Label('RST', (4.258,-4.07), layer=71, texttype=5))
top.add(gdstk.Label('RST', (10.112,-4.019), layer=71, texttype=5))

lib.write_gds('TOP.gds')
